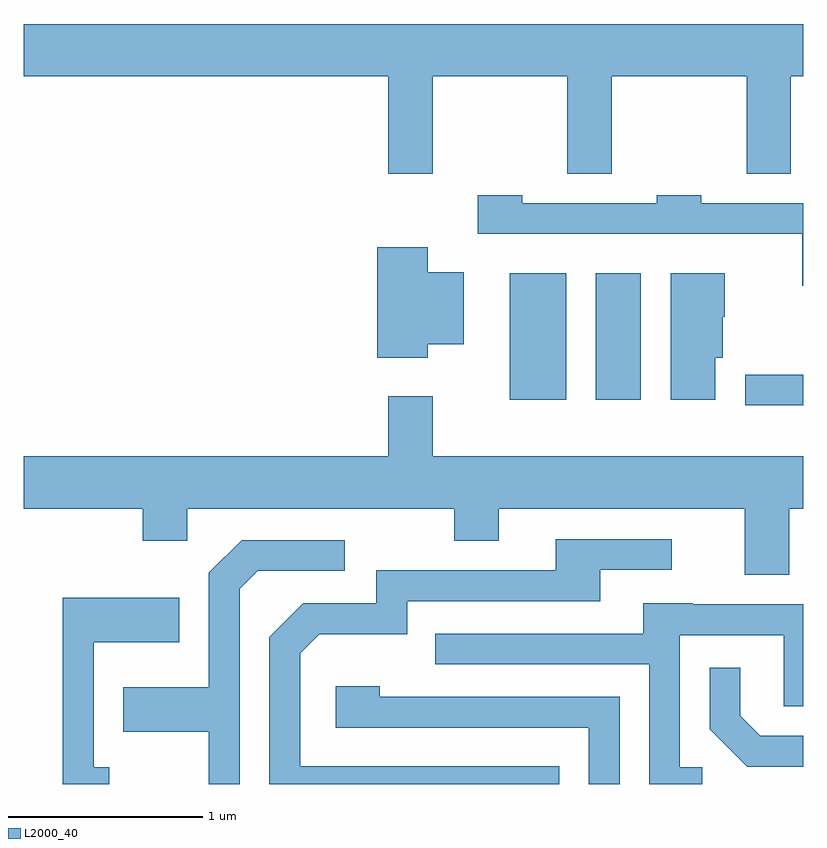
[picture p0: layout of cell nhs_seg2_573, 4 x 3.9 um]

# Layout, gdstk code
import gdstk
lib = gdstk.Library(unit=1e-6, precision=1e-09)
def R(c, l, rs):  # rectangles x0, y0, x1, y1
    for r in rs: c.add(gdstk.rectangle(r[:2], r[2:], *l))
def P(c, l, *ps):  # polygons
    for p in ps: c.add(gdstk.Polygon(p, *l))
L2000_40 = (2000, 40)

nhs_seg2_573 = lib.new_cell('nhs_seg2_573')
R(nhs_seg2_573, L2000_40, [(205.313,1037.746,205.611,1037.904), (204.106,1037.776,204.394,1038.424), (204.546,1037.776,204.779,1038.424)])
P(nhs_seg2_573, L2000_40, [(203.709,1039.436),(204.401,1039.436),(204.401,1038.936),(204.629,1038.936),(204.629,1039.436),(205.321,1039.436),(205.321,1038.936),(205.549,1038.936),(205.549,1039.436),(205.611,1039.436),(205.611,1039.704),(201.611,1039.704),(201.611,1039.436),(203.481,1039.436),(203.481,1038.936),(203.709,1038.936)],
  [(205.611,1038.784),(205.089,1038.784),(205.089,1038.824),(204.861,1038.824),(204.861,1038.784),(204.169,1038.784),(204.169,1038.824),(203.941,1038.824),(203.941,1038.626),(205.606,1038.626),(205.606,1038.361),(205.611,1038.361)],
  [(203.684,1038.061),(203.869,1038.061),(203.869,1038.429),(203.684,1038.429),(203.684,1038.559),(203.426,1038.559),(203.426,1037.991),(203.684,1037.991)],
  [(205.159,1037.991),(205.199,1037.991),(205.199,1038.2),(205.209,1038.2),(205.209,1038.424),(204.931,1038.424),(204.931,1037.776),(205.159,1037.776)],
  [(205.539,1037.216),(205.611,1037.216),(205.611,1037.484),(203.709,1037.484),(203.709,1037.794),(203.481,1037.794),(203.481,1037.484),(201.611,1037.484),(201.611,1037.216),(202.221,1037.216),(202.221,1037.051),(202.449,1037.051),(202.449,1037.216),(203.821,1037.216),(203.821,1037.051),(204.049,1037.051),(204.049,1037.216),(205.311,1037.216),(205.311,1036.876),(205.539,1036.876)],
  [(204.359,1035.894),(203.029,1035.894),(203.029,1036.474),(203.127,1036.571),(203.579,1036.571),(203.579,1036.741),(204.569,1036.741),(204.569,1036.901),(204.938,1036.901),(204.938,1037.059),(204.341,1037.059),(204.341,1036.899),(203.421,1036.899),(203.421,1036.729),(203.044,1036.729),(202.871,1036.556),(202.871,1035.802),(204.359,1035.802)],
  [(202.719,1036.804),(202.812,1036.896),(203.258,1036.896),(203.258,1037.054),(202.729,1037.054),(202.561,1036.887),(202.561,1036.299),(202.121,1036.299),(202.121,1036.071),(202.561,1036.071),(202.561,1035.802),(202.719,1035.802)],
  [(202.048,1035.889),(201.969,1035.889),(201.969,1036.531),(202.409,1036.531),(202.409,1036.759),(201.811,1036.759),(201.811,1035.802),(202.048,1035.802)],
  [(205.093,1035.889),(204.979,1035.889),(204.979,1036.566),(205.511,1036.566),(205.511,1036.201),(205.611,1036.201),(205.611,1036.724),(205.045,1036.724),(205.045,1036.729),(204.791,1036.729),(204.791,1036.574),(203.723,1036.574),(203.723,1036.416),(204.821,1036.416),(204.821,1035.802),(205.093,1035.802)],
  [(205.611,1036.049),(205.392,1036.049),(205.289,1036.152),(205.289,1036.398),(205.131,1036.398),(205.131,1036.084),(205.324,1035.891),(205.611,1035.891)],
  [(204.669,1036.249),(203.439,1036.249),(203.439,1036.304),(203.211,1036.304),(203.211,1036.091),(204.511,1036.091),(204.511,1035.802),(204.669,1035.802)])

lib.write_gds('nhs_seg2_573.gds')
